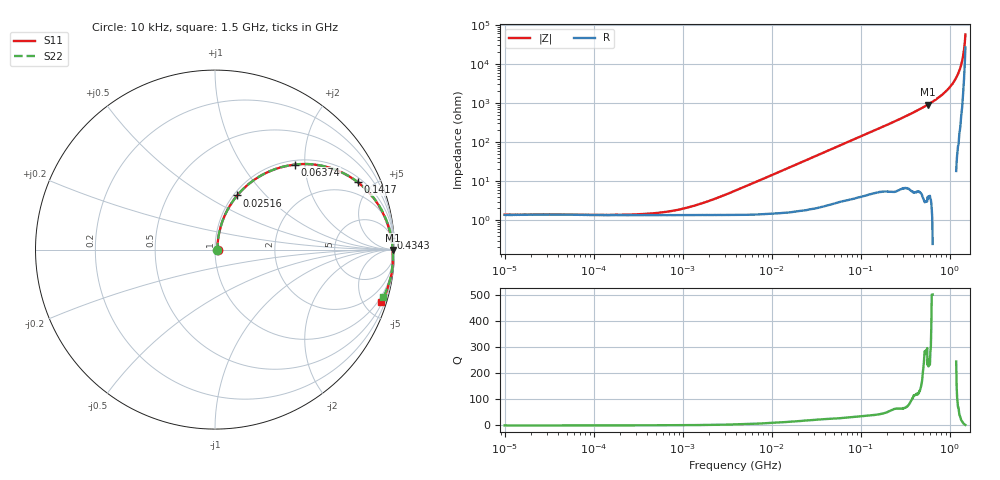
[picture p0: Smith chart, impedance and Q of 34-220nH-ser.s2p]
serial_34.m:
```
clear all
close all
clc

%% Load data
sparam = sparameters('mereni/34-220nH-ser.s2p');

Z0 = sparam.Impedance;
f=sparam.Frequencies;
s_params = sparam.Parameters;

abcd_params = s2abcd(s_params, Z0);

B_param = reshape(abcd_params(1,2,:), [],1);

%% Fit
Lx=2.2e-7;
Rx=1.3;
Cp=5e-14;
Rp=1e5;

ZL_fit = 1 ./ (1./(1i*2*pi()*f*Lx+Rx)+1./(1./(1i*2*pi()*f*Cp))+1/Rp);

%% Plot
fig = figure('Name','Impedance','NumberTitle','off');
loglog(f/1e9,abs(B_param)/1e3,  'r', f/1e9,abs(ZL_fit)/1e3,'b')
legend('ZNB','Model','Location', 'Best')
xlabel('f [GHz]'), ylabel('|Z| [k\Omega]')
grid on
saveas(fig, 'res/34.png')
```
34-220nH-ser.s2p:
#  HZ  S  DB  R  50.00
! Rohde & Schwarz Vector Network Analyzer
! Rohde-Schwarz,ZNB8-4Port,1334333044101560,3.32
! Created: UTC 3/21/2023, 5:18:38 PM
! freq[Hz]  db:S11  ang:S11  db:S41  ang:S41  db:S14  ang:S14  db:S44  ang:S44
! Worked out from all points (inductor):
!   1001 points, 10 kHz to 1.5 GHz, reference 50 ohm
!   read as one part in series: L = 225 nH near 2.875 MHz
!   highest Q = 281 at 564.5 MHz (marker M1), where L = 253 nH
!   S11 on the Smith chart (normalised r, x): 10 kHz: 1.03, +0.00; 25.16 MHz: 1.04, +0.70; 63.74 MHz: 1.09, +1.77; 141.7 MHz: 1.24, +4.11; 434.3 MHz: 7, +28; 1.5 GHz: 0.65, -6.42
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10000  -36.90 1.9  -0.12 -0.3  -0.11 -0.3  -37.17 -0.4
510634.5  -36.38 28.1  -0.12 -0.4  -0.12 -0.4  -36.40 27.9
3872983  -25.14 72.6  -0.13 -3.1  -0.13 -3.1  -25.13 72.5
2.515892e7  -9.73 67.7  -0.65 -19.3  -0.65 -19.3  -9.73 67.7
6.37422e7  -3.76 46.8  -2.65 -41.2  -2.65 -41.3  -3.76 46.9
1.416528e8  -1.11 25.3  -6.90 -63.3  -6.90 -63.4  -1.12 25.4
4.342879e8  -0.14 3.9  -16.32 -85.4  -16.34 -85.6  -0.14 4.4
5.644842e8  -0.09 -0.1  -19.14 -89.5  -19.18 -89.7  -0.09 0.6
1.140358e9  -0.11 -11.7  -31.83 -101.1  -31.93 -101.3  -0.09 -10.1
1.331467e9  -0.15 -14.8  -39.08 -101.6  -39.17 -101.8  -0.15 -13.2
1.5e9  -0.26 -17.5  -55.49 -78.5  -55.55 -79.3  -0.23 -15.6
